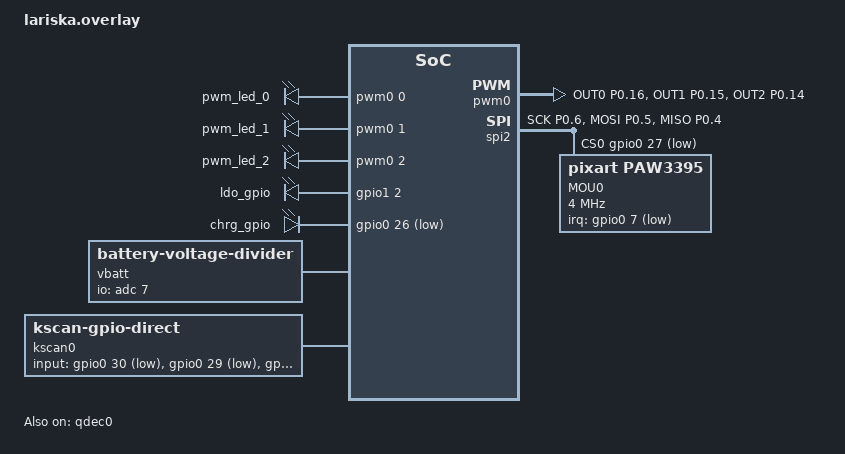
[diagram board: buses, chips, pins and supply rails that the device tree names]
#include <dt-bindings/zmk/matrix_transform.h>
#include <zephyr/dt-bindings/input/input-event-codes.h>

/* Free P0.15 from the nice_nano blue LED — lariska PCB repurposes that pin */
/ {
    /delete-node/ leds;
};

/ {
    esb_ep: esb_endpoint {
        compatible = "zmk,esb-endpoint";
        esb-channel = <78>;
        pairing-base-address = [17 f4 07 7c];
        pairing-prefix = <0x24>;
        data-base-address = [b9 8a 16 72];
        data-prefix = <0xc2>;
    };

    esb_ip: esb_input_processor {
        compatible = "zmk,esb-input-processor";
        #input-processor-cells = <0>;
        status = "okay";
    };

    backlight: pwmleds {
        compatible = "pwm-leds";
        pwm_led_0: pwm_led_0 {
            pwms = <&pwm0 0 PWM_MSEC(10) PWM_POLARITY_INVERTED>;
        };
        pwm_led_1: pwm_led_1 {
            pwms = <&pwm0 1 PWM_MSEC(10) PWM_POLARITY_INVERTED>;
        };
        pwm_led_2: pwm_led_2 {
            pwms = <&pwm0 2 PWM_MSEC(10) PWM_POLARITY_INVERTED>;
        };
    };

    additional_gpio: additional_gpio {
        compatible = "gpio-leds";
        ldo_gpio: ldo_gpio {
            gpios = <&gpio1 2 GPIO_ACTIVE_HIGH>;
        };
        chrg_gpio: chrg_gpio {
            gpios = <&gpio0 26 (GPIO_ACTIVE_LOW | GPIO_PULL_UP)>;
        };
    };

    aliases {
        led0 = &pwm_led_0;
        led1 = &pwm_led_1;
        led2 = &pwm_led_2;
        ldo  = &ldo_gpio;
        chrg = &chrg_gpio;
    };

    chosen {
        zmk,battery = &vbatt;
        zmk,backlight = &backlight;
        zmk,kscan = &kscan0;
        zmk,matrix-transform = &default_transform;
    };

    vbatt: vbatt {
        compatible = "zmk,battery-voltage-divider";
        io-channels = <&adc 7>;
        output-ohms = <400000>;
        full-ohms = <(1000000 + 400000)>;
    };

    default_transform: keymap_transform0 {
        compatible = "zmk,matrix-transform";
        columns = <6>;
        rows = <1>;
        map = <
            RC(0,0) RC(0,1) RC(0,2) RC(0,3) RC(0,4) RC(0,5)
        >;
    };

    kscan0: kscan {
        compatible = "zmk,kscan-gpio-direct";
        wakeup-source;
        input-gpios
            = <&gpio0 30 (GPIO_ACTIVE_LOW | GPIO_PULL_UP)>
            , <&gpio0 29 (GPIO_ACTIVE_LOW | GPIO_PULL_UP)>
            , <&gpio0 28 (GPIO_ACTIVE_LOW | GPIO_PULL_UP)>
            , <&gpio0  2 (GPIO_ACTIVE_LOW | GPIO_PULL_UP)>
            , <&gpio0  3 (GPIO_ACTIVE_LOW | GPIO_PULL_UP)>
            , <&gpio1 15 (GPIO_ACTIVE_LOW | GPIO_PULL_UP)>
            ;
    };

    sensors: sensors {
        compatible = "zmk,keymap-sensors";
        sensors = <&encoder>;
        triggers-per-rotation = <24>;
    };


};

&pinctrl {
    pwm0_default: pwm0_default {
        group1 {
            psels = <NRF_PSEL(PWM_OUT0, 0, 16)>,  /* RED   */
                    <NRF_PSEL(PWM_OUT1, 0, 15)>,  /* GREEN */
                    <NRF_PSEL(PWM_OUT2, 0, 14)>;  /* BLUE  */
        };
    };
    pwm0_sleep: pwm0_sleep {
        group1 {
            psels = <NRF_PSEL(PWM_OUT0, 0, 16)>,
                    <NRF_PSEL(PWM_OUT1, 0, 15)>,
                    <NRF_PSEL(PWM_OUT2, 0, 14)>;
            low-power-enable;
        };
    };
    qdec_default: qdec_default {
        group1 {
            psels = <NRF_PSEL(QDEC_A, 0, 1)>,
                    <NRF_PSEL(QDEC_B, 0, 0)>;
        };
    };
    qdec_sleep: qdec_sleep {
        group1 {
            psels = <NRF_PSEL(QDEC_A, 0, 1)>,
                    <NRF_PSEL(QDEC_B, 0, 0)>;
            low-power-enable;
        };
    };
    spi2_default: spi2_default {
        group1 {
            psels = <NRF_PSEL(SPIM_SCK,  0, 6)>,
                    <NRF_PSEL(SPIM_MOSI, 0, 5)>,
                    <NRF_PSEL(SPIM_MISO, 0, 4)>;
        };
    };
    spi2_sleep: spi2_sleep {
        group1 {
            psels = <NRF_PSEL(SPIM_SCK,  0, 6)>,
                    <NRF_PSEL(SPIM_MOSI, 0, 5)>,
                    <NRF_PSEL(SPIM_MISO, 0, 4)>;
            low-power-enable;
        };
    };
};

&pwm0 {
    status = "okay";
    pinctrl-0 = <&pwm0_default>;
    pinctrl-1 = <&pwm0_sleep>;
    pinctrl-names = "default", "sleep";
};

encoder: &qdec0 {
    status = "okay";
    led-pre = <0>;
    steps = <48>;
    pinctrl-0 = <&qdec_default>;
    pinctrl-1 = <&qdec_sleep>;
    pinctrl-names = "default", "sleep";
};

&spi2 {
    compatible = "nordic,nrf-spim";
    status = "okay";
    pinctrl-0 = <&spi2_default>;
    pinctrl-1 = <&spi2_sleep>;
    pinctrl-names = "default", "sleep";
    cs-gpios = <&gpio0 27 GPIO_ACTIVE_LOW>;

    mou0: pd@0 {
        compatible = "pixart,paw3395";
        status = "okay";
        label = "MOU0";
        reg = <0>;
        spi-max-frequency = <4000000>;
        irq-gpios = <&gpio0 7 (GPIO_ACTIVE_LOW | GPIO_PULL_UP)>;
        cpi = <1600>;
        invert-x;
        evt-type = <INPUT_EV_REL>;
        x-input-code = <INPUT_REL_X>;
        y-input-code = <INPUT_REL_Y>;
    };
};
